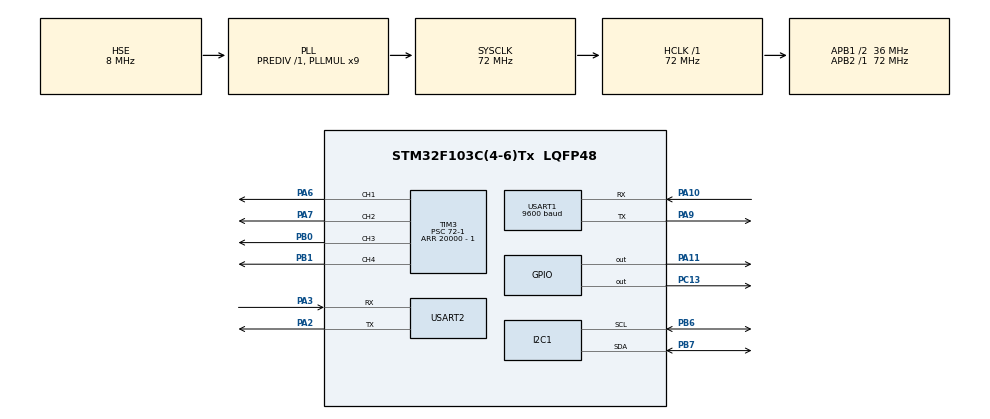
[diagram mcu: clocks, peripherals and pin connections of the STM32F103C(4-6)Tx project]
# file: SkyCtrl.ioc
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I2C1.I2C_Mode=I2C_Fast
Mcu.Family=STM32F1
Mcu.Name=STM32F103C(4-6)Tx
Mcu.Package=LQFP48
NVIC.PriorityGroup=NVIC_PRIORITYGROUP_4
NVIC.TIM1_UP_IRQn=true\:0\:0\:false\:false\:true\:true\:true\:true
NVIC.TIM2_IRQn=true\:0\:0\:false\:false\:true\:true\:true\:true
NVIC.USART1_IRQn=true\:0\:0\:false\:false\:true\:true\:true\:true
NVIC.USART2_IRQn=true\:0\:0\:false\:false\:true\:true\:true\:true
PA10.Mode=Asynchronous
PA10.Signal=USART1_RX
PA11.PinState=GPIO_PIN_SET
PA11.Signal=GPIO_Output
PA13.Mode=Serial_Wire
PA13.Signal=SYS_JTMS-SWDIO
PA14.Mode=Serial_Wire
PA14.Signal=SYS_JTCK-SWCLK
PA2.Mode=Asynchronous
PA2.Signal=USART2_TX
PA3.Mode=Asynchronous
PA3.Signal=USART2_RX
PA6.Signal=S_TIM3_CH1
PA7.Signal=S_TIM3_CH2
PA9.Mode=Asynchronous
PA9.Signal=USART1_TX
PB0.Signal=S_TIM3_CH3
PB1.Signal=S_TIM3_CH4
PB6.Mode=I2C
PB6.Signal=I2C1_SCL
PB7.Mode=I2C
PB7.Signal=I2C1_SDA
PC13-TAMPER-RTC.PinState=GPIO_PIN_SET
PC13-TAMPER-RTC.Signal=GPIO_Output
PD0-OSC_IN.Mode=HSE-External-Oscillator
PD0-OSC_IN.Signal=RCC_OSC_IN
PD1-OSC_OUT.Mode=HSE-External-Oscillator
PD1-OSC_OUT.Signal=RCC_OSC_OUT
ProjectManager.HeapSize=0x200
ProjectManager.StackSize=0x400
ProjectManager.TargetToolchain=CMake
RCC.AHBFreq_Value=72000000
RCC.APB1CLKDivider=RCC_HCLK_DIV2
RCC.APB1Freq_Value=36000000
RCC.APB1TimFreq_Value=72000000
RCC.APB2Freq_Value=72000000
RCC.APB2TimFreq_Value=72000000
RCC.HCLKFreq_Value=72000000
RCC.PLLMUL=RCC_PLL_MUL9
RCC.PLLSourceVirtual=RCC_PLLSOURCE_HSE
RCC.SYSCLKFreq_VALUE=72000000
RCC.SYSCLKSource=RCC_SYSCLKSOURCE_PLLCLK
RCC.USBFreq_Value=72000000
SH.S_TIM3_CH1.0=TIM3_CH1,PWM Generation1 CH1
SH.S_TIM3_CH2.0=TIM3_CH2,PWM Generation2 CH2
SH.S_TIM3_CH3.0=TIM3_CH3,PWM Generation3 CH3
SH.S_TIM3_CH4.0=TIM3_CH4,PWM Generation4 CH4
TIM1.Period=2000-1
TIM1.Prescaler=36000-1
TIM2.AutoReloadPreload=TIM_AUTORELOAD_PRELOAD_ENABLE
TIM2.Period=2000-1
TIM2.Prescaler=72-1
TIM3.AutoReloadPreload=TIM_AUTORELOAD_PRELOAD_ENABLE
TIM3.Channel-PWM\ Generation1\ CH1=TIM_CHANNEL_1
TIM3.Channel-PWM\ Generation2\ CH2=TIM_CHANNEL_2
TIM3.Channel-PWM\ Generation3\ CH3=TIM_CHANNEL_3
TIM3.Channel-PWM\ Generation4\ CH4=TIM_CHANNEL_4
TIM3.Period=20000 - 1
TIM3.Prescaler=72-1
TIM3.Pulse-PWM\ Generation1\ CH1=1000
TIM3.Pulse-PWM\ Generation2\ CH2=1000
TIM3.Pulse-PWM\ Generation3\ CH3=1000
TIM3.Pulse-PWM\ Generation4\ CH4=1000
USART1.BaudRate=9600
USART1.VirtualMode=VM_ASYNC
USART2.VirtualMode=VM_ASYNC
VP_TIM1_VS_ClockSourceINT.Mode=Internal
VP_TIM2_VS_ClockSourceINT.Mode=Internal
VP_TIM3_VS_ClockSourceINT.Mode=Internal
board=custom

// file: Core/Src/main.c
/* USER CODE BEGIN Header */
/**
  ******************************************************************************
  * @file           : main.c
  * @brief          : Main program body
  ******************************************************************************
  * @attention
  *
  * Copyright (c) 2026 STMicroelectronics.
  * All rights reserved.
  *
  * This software is licensed under terms that can be found in the LICENSE file
  * in the root directory of this software component.
  * If no LICENSE file comes with this software, it is provided AS-IS.
  *
  ******************************************************************************
  */
/* USER CODE END Header */
#include "main.h"
#include "i2c.h"
#include "tim.h"
#include "usart.h"
#include "gpio.h"

/* USER CODE BEGIN Includes */
#include <stdio.h>
#include "esp01s.h"
#include "flight_control.h"
#include "motor.h"
#include "mpu6050.h"
#include "imu.h"
#include "mahony.h"
/* USER CODE END Includes */

void SystemClock_Config(void);

/* USER CODE BEGIN 0 */
IMU_Data_t imu;
Attitude_t att;
volatile uint8_t imu_attitude_ready_flag = 0;
ESP01S_Status_t status;
// UART 中断接收字节
uint8_t rx1_byte, rx2_byte;          // 单字节接收缓存
uint8_t uart2_buf[256];   // 缓存 PC 发来的数据
uint16_t uart2_idx = 0;              // 缓冲区索引
uint8_t esp_passthrough_enabled = 0;
uint8_t heartbeat_tick = 0;
uint8_t tcp_heartbeat_flag = 0;
static const uint8_t ping_msg[] = "PING\r\n";
/* USER CODE END 0 */

int main(void)
{

  /* MCU Configuration--------------------------------------------------------*/

  /* Reset of all peripherals, Initializes the Flash interface and the Systick. */
  HAL_Init();

  /* Configure the system clock */
  SystemClock_Config();

  /* Initialize all configured peripherals */
  MX_GPIO_Init();
  MX_TIM3_Init();
  MX_I2C1_Init();
  MX_TIM2_Init();
  MX_USART1_UART_Init();
  MX_USART2_UART_Init();
  MX_TIM1_Init();
  /* USER CODE BEGIN 2 */
  if (MPU6050_Init() == 0)
  {
    while (1) {
      HAL_GPIO_TogglePin(GPIOC, GPIO_PIN_13);
      HAL_Delay(100);
    }
  }
  IMU_Init();
  Mahony_Init(2.0f, 0.0f);// Kp=1.0, Ki=0
  HAL_UART_Receive_IT(&huart1, &rx1_byte, 1);
  // HAL_UART_Receive_IT(&huart2, &rx2_byte, 1);
  HAL_TIM_Base_Start_IT(&htim1);
  HAL_TIM_Base_Start_IT(&htim2);

  // 初始化ESP01S
  status = ESP01S_Init(&huart1, 2000);
  status = ESP01S_ConnectWiFi();
  status = ESP01S_ConnectTCP();

  if (esp_passthrough_enabled) {
    HAL_GPIO_WritePin(GPIOC, GPIO_PIN_13, GPIO_PIN_SET);
    HAL_Delay(300);
    HAL_GPIO_TogglePin(GPIOC, GPIO_PIN_13); // 亮
    HAL_Delay(300);
    HAL_GPIO_TogglePin(GPIOC, GPIO_PIN_13);
    HAL_Delay(300);
    HAL_GPIO_TogglePin(GPIOC, GPIO_PIN_13); // 亮
  }
  Motor_Init();
  Motor_Arm();     // 上电解锁 3 秒
  FlightControl_Init();
  FlightControl_Arm();

  /* USER CODE END 2 */

  /* Infinite loop */
  /* USER CODE BEGIN WHILE */
  while (1)
  {
    if (tcp_heartbeat_flag)
    {
      tcp_heartbeat_flag = 0;
      HAL_UART_Transmit_IT(&huart1, ping_msg, 6);
    }
    if(ESP01S_IRQ_DataReady())
    {
      ControlInput_t ci = ESP01S_IRQ_GetControlInput();
      FlightControl_SetInput(&ci);
      HAL_GPIO_TogglePin(GPIOC, GPIO_PIN_13);
      // if (ci.btn_yaw_ccw == 1) { // 左
      //   Motor_SetAll(1200);
      // } else if (ci.btn_yaw_cw == 1) { // 右
      //   Motor_SetAll(1400);
      // } else if (ci.btn_down == 1) { // 下
      //   Motor_SetAll(1600);
      // } else if (ci.btn_up == 1) { // 上
      //   Motor_SetAll(1800);
      // } else {
      //   Motor_SetAll(1000);
      // }
    }
    if (imu_attitude_ready_flag) {
      imu_attitude_ready_flag = 0;
      IMU_Update(&imu); // 每 2ms 调用一次
      Mahony_Update(&imu, 0.002f, &att); // dt = 2ms
      FlightControl_Update(&att);
    }

    /* USER CODE END WHILE */

  }
}

void SystemClock_Config(void)
{
  RCC_OscInitTypeDef RCC_OscInitStruct = {0};
  RCC_ClkInitTypeDef RCC_ClkInitStruct = {0};

  /** Initializes the RCC Oscillators according to the specified parameters
  * in the RCC_OscInitTypeDef structure.
  */
  RCC_OscInitStruct.OscillatorType = RCC_OSCILLATORTYPE_HSE;
  RCC_OscInitStruct.HSEState = RCC_HSE_ON;
  RCC_OscInitStruct.HSEPredivValue = RCC_HSE_PREDIV_DIV1;
  RCC_OscInitStruct.HSIState = RCC_HSI_ON;
  RCC_OscInitStruct.PLL.PLLState = RCC_PLL_ON;
  RCC_OscInitStruct.PLL.PLLSource = RCC_PLLSOURCE_HSE;
  RCC_OscInitStruct.PLL.PLLMUL = RCC_PLL_MUL9;
  if (HAL_RCC_OscConfig(&RCC_OscInitStruct) != HAL_OK)
  {
    Error_Handler();
  }

  /** Initializes the CPU, AHB and APB buses clocks
  */
  RCC_ClkInitStruct.ClockType = RCC_CLOCKTYPE_HCLK|RCC_CLOCKTYPE_SYSCLK
                              |RCC_CLOCKTYPE_PCLK1|RCC_CLOCKTYPE_PCLK2;
  RCC_ClkInitStruct.SYSCLKSource = RCC_SYSCLKSOURCE_PLLCLK;
  RCC_ClkInitStruct.AHBCLKDivider = RCC_SYSCLK_DIV1;
  RCC_ClkInitStruct.APB1CLKDivider = RCC_HCLK_DIV2;
  RCC_ClkInitStruct.APB2CLKDivider = RCC_HCLK_DIV1;

  if (HAL_RCC_ClockConfig(&RCC_ClkInitStruct, FLASH_LATENCY_2) != HAL_OK)
  {
    Error_Handler();
  }
}

/* USER CODE BEGIN 4 */
void HAL_TIM_PeriodElapsedCallback(TIM_HandleTypeDef *htim)
{
  if(htim->Instance == TIM2)
  {
    imu_attitude_ready_flag = 1;
  } else if (htim->Instance == TIM1) {
    // 心跳处理
    heartbeat_tick++;
    if (heartbeat_tick >= 30)
    {
      heartbeat_tick = 0;
      tcp_heartbeat_flag = 1;
    }
  }
}
void HAL_UART_RxCpltCallback(UART_HandleTypeDef *huart)
{
  if(huart->Instance == USART1)
  {
    if (rx1_byte == '>')
    {
      esp_passthrough_enabled = 1;
      HAL_GPIO_WritePin(GPIOC, GPIO_PIN_13, GPIO_PIN_RESET);
    }
    // HAL_UART_Transmit_IT(&huart2, &rx1_byte, 1);
    if (esp_passthrough_enabled) {
      ESP01S_IRQ_ProcessByte(rx1_byte);
    }
    HAL_UART_Receive_IT(&huart1, &rx1_byte, 1);
  }
  else if(huart->Instance == USART2)
  {
    // 缓存数据
    uart2_buf[uart2_idx++] = rx2_byte;
    // 检查是否遇到 \r 或 \n
    if(rx2_byte == '\n' || uart2_idx >= 256)
    {
      if(uart2_idx > 0)
      {
        // 发送整段缓存到 UART1
        HAL_UART_Transmit_IT(&huart1, uart2_buf, uart2_idx);
        uart2_idx = 0; // 重置缓存索引
      }
    }
    // 再次接收
    HAL_UART_Receive_IT(&huart2, &rx2_byte, 1);
  }
}
/* USER CODE END 4 */

void Error_Handler(void)
{
  __disable_irq();
  while (1)
  {
  }
}
